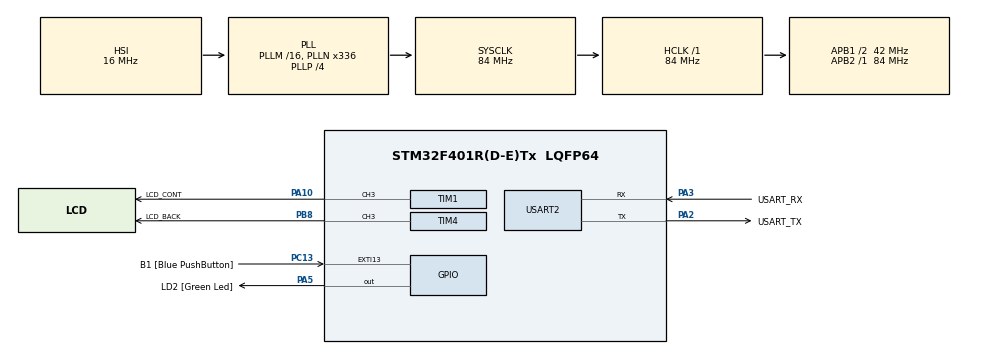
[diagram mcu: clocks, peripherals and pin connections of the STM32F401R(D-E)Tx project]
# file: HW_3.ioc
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Mcu.Family=STM32F4
Mcu.Name=STM32F401R(D-E)Tx
Mcu.Package=LQFP64
NVIC.EXTI15_10_IRQn=true\:0\:0\:false\:false\:true\:true
NVIC.PriorityGroup=NVIC_PRIORITYGROUP_0
NVIC.USART2_IRQn=true\:0\:0\:false\:false\:true\:true
PA10.GPIO_Label=LCD_CONT
PA10.Signal=S_TIM1_CH3
PA13.GPIO_Label=TMS
PA13.Mode=Serial_Wire
PA13.Signal=SYS_JTMS-SWDIO
PA14.GPIO_Label=TCK
PA14.Mode=Serial_Wire
PA14.Signal=SYS_JTCK-SWCLK
PA2.GPIO_Label=USART_TX
PA2.GPIO_Mode=GPIO_MODE_AF_PP
PA2.GPIO_PuPd=GPIO_NOPULL
PA2.GPIO_Speed=GPIO_SPEED_FREQ_LOW
PA2.Mode=Asynchronous
PA2.Signal=USART2_TX
PA3.GPIO_Label=USART_RX
PA3.GPIO_Mode=GPIO_MODE_AF_PP
PA3.GPIO_PuPd=GPIO_NOPULL
PA3.GPIO_Speed=GPIO_SPEED_FREQ_LOW
PA3.Mode=Asynchronous
PA3.Signal=USART2_RX
PA5.GPIO_Label=LD2 [Green Led]
PA5.GPIO_Mode=GPIO_MODE_OUTPUT_PP
PA5.GPIO_PuPd=GPIO_NOPULL
PA5.GPIO_Speed=GPIO_SPEED_FREQ_LOW
PA5.Signal=GPIO_Output
PB3.GPIO_Label=SWO
PB3.Signal=SYS_JTDO-SWO
PB8.GPIO_Label=LCD_BACK
PB8.Signal=S_TIM4_CH3
PC13-ANTI_TAMP.GPIO_Label=B1 [Blue PushButton]
PC13-ANTI_TAMP.GPIO_ModeDefaultEXTI=GPIO_MODE_IT_FALLING
PC13-ANTI_TAMP.GPIO_PuPd=GPIO_PULLUP
PC13-ANTI_TAMP.Signal=GPXTI13
PC14-OSC32_IN.Mode=LSE-External-Oscillator
PC14-OSC32_IN.Signal=RCC_OSC32_IN
PC15-OSC32_OUT.Mode=LSE-External-Oscillator
PC15-OSC32_OUT.Signal=RCC_OSC32_OUT
PH0\ -\ OSC_IN.Mode=HSE-External-Clock-Source
PH0\ -\ OSC_IN.Signal=RCC_OSC_IN
PH1\ -\ OSC_OUT.Mode=HSE-External-Clock-Source
PH1\ -\ OSC_OUT.Signal=RCC_OSC_OUT
ProjectManager.HeapSize=0x200
ProjectManager.StackSize=0x400
ProjectManager.TargetToolchain=MDK-ARM V5
RCC.48MHZClocksFreq_Value=48000000
RCC.AHBFreq_Value=84000000
RCC.APB1CLKDivider=RCC_HCLK_DIV2
RCC.APB1Freq_Value=42000000
RCC.APB1TimFreq_Value=84000000
RCC.APB2Freq_Value=84000000
RCC.APB2TimFreq_Value=84000000
RCC.CortexFreq_Value=84000000
RCC.HCLKFreq_Value=84000000
RCC.HSE_VALUE=8000000
RCC.HSI_VALUE=16000000
RCC.PLLN=336
RCC.PLLP=RCC_PLLP_DIV4
RCC.PLLQ=7
RCC.SYSCLKFreq_VALUE=84000000
RCC.SYSCLKSource=RCC_SYSCLKSOURCE_PLLCLK
RCC.VCOOutputFreq_Value=336000000
SH.S_TIM1_CH3.0=TIM1_CH3,PWM Generation3 CH3
SH.S_TIM4_CH3.0=TIM4_CH3,PWM Generation3 CH3
TIM1.Channel-PWM\ Generation3\ CH3=TIM_CHANNEL_3
TIM1.Period=100
TIM4.Channel-PWM\ Generation3\ CH3=TIM_CHANNEL_3
TIM4.Period=100
USART2.VirtualMode=VM_ASYNC
USART2.WordLength=WORDLENGTH_8B
VP_TIM1_VS_ClockSourceINT.Mode=Internal
VP_TIM4_VS_ClockSourceINT.Mode=Internal
board=NUCLEO-F401RE

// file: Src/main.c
/**
  ******************************************************************************
  * @file           : main.c
  * @brief          : Main program body
  ******************************************************************************
  ** This notice applies to any and all portions of this file
  * that are not between comment pairs USER CODE BEGIN and
  * USER CODE END. Other portions of this file, whether
  * inserted by the user or by software development tools
  * are owned by their respective copyright owners.
  *
  * COPYRIGHT(c) 2019 STMicroelectronics
  *
  * Redistribution and use in source and binary forms, with or without modification,
  * are permitted provided that the following conditions are met:
  *   1. Redistributions of source code must retain the above copyright notice,
  *      this list of conditions and the following disclaimer.
  *   2. Redistributions in binary form must reproduce the above copyright notice,
  *      this list of conditions and the following disclaimer in the documentation
  *      and/or other materials provided with the distribution.
  *   3. Neither the name of STMicroelectronics nor the names of its contributors
  *      may be used to endorse or promote products derived from this software
  *      without specific prior written permission.
  *
  * THIS SOFTWARE IS PROVIDED BY THE COPYRIGHT HOLDERS AND CONTRIBUTORS "AS IS"
  * AND ANY EXPRESS OR IMPLIED WARRANTIES, INCLUDING, BUT NOT LIMITED TO, THE
  * IMPLIED WARRANTIES OF MERCHANTABILITY AND FITNESS FOR A PARTICULAR PURPOSE ARE
  * DISCLAIMED. IN NO EVENT SHALL THE COPYRIGHT HOLDER OR CONTRIBUTORS BE LIABLE
  * FOR ANY DIRECT, INDIRECT, INCIDENTAL, SPECIAL, EXEMPLARY, OR CONSEQUENTIAL
  * DAMAGES (INCLUDING, BUT NOT LIMITED TO, PROCUREMENT OF SUBSTITUTE GOODS OR
  * SERVICES; LOSS OF USE, DATA, OR PROFITS; OR BUSINESS INTERRUPTION) HOWEVER
  * CAUSED AND ON ANY THEORY OF LIABILITY, WHETHER IN CONTRACT, STRICT LIABILITY,
  * OR TORT (INCLUDING NEGLIGENCE OR OTHERWISE) ARISING IN ANY WAY OUT OF THE USE
  * OF THIS SOFTWARE, EVEN IF ADVISED OF THE POSSIBILITY OF SUCH DAMAGE.
  *
  ******************************************************************************
  */
#include "main.h"
#include "stm32f4xx_hal.h"
#include "tim.h"
#include "usart.h"
#include "gpio.h"

/* USER CODE BEGIN Includes */
#include "lm016.h"
/* USER CODE END Includes */

/* USER CODE BEGIN PV */
/* Private variables ---------------------------------------------------------*/

extern 		UART_HandleTypeDef huart2;
uint32_t 	speeds[] 		= {9600, 115200, 1000000};
uint8_t		msg[50];

typedef struct{
	GPIO_TypeDef* port;
	uint16_t 		 	pin;
}LED_t;

					uint8_t 	receive_pckt[8];
volatile	uint8_t		pckt_rcvd_flg;
					LED_t 		LEDs[4];

typedef enum{
	LED_set = 1,
	LCD = 2,
	ERR = 3
} Packet_Type;

Packet_Type pckt_t = ERR;

lcd_t lcd_0;

/* USER CODE END PV */

void SystemClock_Config(void);

/* USER CODE BEGIN PFP */
/* Private function prototypes -----------------------------------------------*/

/* USER CODE END PFP */

int main(void)
{

  /* MCU Configuration----------------------------------------------------------*/

  /* Reset of all peripherals, Initializes the Flash interface and the Systick. */
  HAL_Init();

  /* Configure the system clock */
  SystemClock_Config();

  /* Initialize all configured peripherals */
  MX_GPIO_Init();
  MX_USART2_UART_Init();
  MX_TIM1_Init();
  MX_TIM4_Init();

  /* Infinite loop */
  /* USER CODE BEGIN WHILE */

		/////////////// Q1 //////////////
/*
	for(uint8_t tmp_itrtr_1= 0; tmp_itrtr_1 < 3; tmp_itrtr_1++)
		{
			sprintf((char*)msg, "Speed is changing to %7d in 3 seconds\n\r", speeds[tmp_itrtr_1]);
			HAL_UART_Transmit(&huart2, msg, 43, 200);
			HAL_Delay(3000);

			huart2.Init.BaudRate = speeds[tmp_itrtr_1];
			HAL_UART_Init(&huart2);
			for(uint16_t tmp_itrtr_2= 0; tmp_itrtr_2 < 2000; tmp_itrtr_2++)
			{
				sprintf((char*)msg, "Hello UART %4d\n\r", tmp_itrtr_2+1);
				HAL_UART_Transmit(&huart2, msg, 18, 200);
			}
		}

*/

				///////////// Q2 ////////////
		LEDs[0].port = GPIOA;
		LEDs[0].pin  = GPIO_PIN_0;
		LEDs[1].port = GPIOA;
		LEDs[1].pin	 = GPIO_PIN_1;
		LEDs[2].port = GPIOA;
		LEDs[2].pin	 = GPIO_PIN_4;
		LEDs[3].port = GPIOB;
		LEDs[3].pin	 = GPIO_PIN_0;

		HAL_UART_Receive_IT(&huart2, receive_pckt, 8);

		/////////// Q4 ////////////
		HAL_TIM_PWM_Start(&htim1, TIM_CHANNEL_3);	// LCD CONTRAST
		HAL_TIM_PWM_Start(&htim4, TIM_CHANNEL_3); // LCD BACKLIGHT

	__HAL_TIM_SetCompare(&htim1, TIM_CHANNEL_3, 10); // 0 => High Cont.  100 => Low Cont.
	__HAL_TIM_SetCompare(&htim4, TIM_CHANNEL_3, 60);

	/* <= LCD Initialization BEGIN => */

	// Data Ports
	lcd_0.data_ports[0] = GPIOB;
	lcd_0.data_ports[1] = GPIOA;
	lcd_0.data_ports[2] = GPIOA;
	lcd_0.data_ports[3] = GPIOC;
	lcd_0.data_ports[4] = GPIOB;
	lcd_0.data_ports[5] = GPIOA;
	lcd_0.data_ports[6] = GPIOA;
	lcd_0.data_ports[7] = GPIOA;
	// Data Pins
	lcd_0.data_pins[0]  = GPIO_PIN_10;
	lcd_0.data_pins[1]  = GPIO_PIN_8;
	lcd_0.data_pins[2]  = GPIO_PIN_9;
	lcd_0.data_pins[3]  = GPIO_PIN_7;
	lcd_0.data_pins[4]  = GPIO_PIN_6;
	lcd_0.data_pins[5]  = GPIO_PIN_7;
	lcd_0.data_pins[6]  = GPIO_PIN_6;
	lcd_0.data_pins[7]  = GPIO_PIN_5;

	// Control Ports
	lcd_0.rs_port				= GPIOB;
	lcd_0.en_port 			= GPIOB;

	// Control Pins
	lcd_0.rs_pin				= GPIO_PIN_3;
	lcd_0.en_pin 				= GPIO_PIN_4;

	// Mode
	lcd_0.mode					= _8_BIT;

	HAL_Delay(100);
	lcd_init(&lcd_0);
	/* <= LCD Initialization END => */

	lcd_puts(&lcd_0, "Hello! Welcome to the HW3!");
	HAL_Delay(1000);
	lcd_clear(&lcd_0);

  while (1)
  {

		if(pckt_rcvd_flg == 1)
		{
			/*
			lcd_puts(&lcd_0, "Checking the Packet Type");
			HAL_Delay(2000);
			lcd_clear(&lcd_0);
			*/

			// check the packet
			if(receive_pckt[0] == 255 && receive_pckt[1] == 255 && receive_pckt[6] == 200 && receive_pckt[7] == 200)
			{
				if(receive_pckt[2] == 0 || receive_pckt[2] == 1)
				{
					pckt_t = LED_set;
					/*
					lcd_puts(&lcd_0, "Packet Type ==> LED");
					HAL_Delay(2000);
					lcd_clear(&lcd_0);
					*/
				}
				else
				{
					pckt_t = LCD;
					/*
					lcd_puts(&lcd_0, "Packet Type ==> LCD");
					HAL_Delay(2000);
					lcd_clear(&lcd_0);
					*/
				}
			}
			else
			{
				pckt_t = ERR;
				/*
				lcd_puts(&lcd_0, "ERROR");
				HAL_Delay(2000);
				lcd_clear(&lcd_0);
				*/

			}

			// Perform the command!
			switch (pckt_t)
      {
      	case LED_set:
      		for(uint8_t tmp_itrtr_3= 0; tmp_itrtr_3 < 4; tmp_itrtr_3++)
					{
						HAL_GPIO_WritePin(LEDs[tmp_itrtr_3].port, LEDs[tmp_itrtr_3].pin, receive_pckt[tmp_itrtr_3 + 2]);
					}
					break;

      	case LCD:
      		switch (receive_pckt[2])
          {
          	case 2:
							lcd_clear( &lcd_0 );
							break;
          	case 3:
          		lcd_set_curser(&lcd_0, receive_pckt[3], receive_pckt[4]);
							break;
						case 4:
							lcd_putchar( &lcd_0, receive_pckt[3] );
							break;
						case 5:
          		send_cmd(&lcd_0, receive_pckt[3]);
							break;
          	default:
          		HAL_UART_Transmit_IT(&huart2, (uint8_t*)"LCD command not valid!\n\r", 24);
          }
					break;

				default:
      		HAL_UART_Transmit_IT(&huart2, (uint8_t*)"Error in receiving the packet\n\r", 31);
      }

			pckt_rcvd_flg = 0;
			HAL_UART_Receive_IT(&huart2, receive_pckt, 8);

		}

  /* USER CODE END WHILE */

  }

}

void SystemClock_Config(void)
{

  RCC_OscInitTypeDef RCC_OscInitStruct;
  RCC_ClkInitTypeDef RCC_ClkInitStruct;

    /**Configure the main internal regulator output voltage
    */
  __HAL_RCC_PWR_CLK_ENABLE();

  __HAL_PWR_VOLTAGESCALING_CONFIG(PWR_REGULATOR_VOLTAGE_SCALE2);

    /**Initializes the CPU, AHB and APB busses clocks
    */
  RCC_OscInitStruct.OscillatorType = RCC_OSCILLATORTYPE_HSI;
  RCC_OscInitStruct.HSIState = RCC_HSI_ON;
  RCC_OscInitStruct.HSICalibrationValue = 16;
  RCC_OscInitStruct.PLL.PLLState = RCC_PLL_ON;
  RCC_OscInitStruct.PLL.PLLSource = RCC_PLLSOURCE_HSI;
  RCC_OscInitStruct.PLL.PLLM = 16;
  RCC_OscInitStruct.PLL.PLLN = 336;
  RCC_OscInitStruct.PLL.PLLP = RCC_PLLP_DIV4;
  RCC_OscInitStruct.PLL.PLLQ = 7;
  if (HAL_RCC_OscConfig(&RCC_OscInitStruct) != HAL_OK)
  {
    _Error_Handler(__FILE__, __LINE__);
  }

    /**Initializes the CPU, AHB and APB busses clocks
    */
  RCC_ClkInitStruct.ClockType = RCC_CLOCKTYPE_HCLK|RCC_CLOCKTYPE_SYSCLK
                              |RCC_CLOCKTYPE_PCLK1|RCC_CLOCKTYPE_PCLK2;
  RCC_ClkInitStruct.SYSCLKSource = RCC_SYSCLKSOURCE_PLLCLK;
  RCC_ClkInitStruct.AHBCLKDivider = RCC_SYSCLK_DIV1;
  RCC_ClkInitStruct.APB1CLKDivider = RCC_HCLK_DIV2;
  RCC_ClkInitStruct.APB2CLKDivider = RCC_HCLK_DIV1;

  if (HAL_RCC_ClockConfig(&RCC_ClkInitStruct, FLASH_LATENCY_2) != HAL_OK)
  {
    _Error_Handler(__FILE__, __LINE__);
  }

    /**Configure the Systick interrupt time
    */
  HAL_SYSTICK_Config(HAL_RCC_GetHCLKFreq()/1000);

    /**Configure the Systick
    */
  HAL_SYSTICK_CLKSourceConfig(SYSTICK_CLKSOURCE_HCLK);

  /* SysTick_IRQn interrupt configuration */
  HAL_NVIC_SetPriority(SysTick_IRQn, 0, 0);
}

void _Error_Handler(char *file, int line)
{
  while(1)
  {
  }
}

/************************ (C) COPYRIGHT STMicroelectronics *****END OF FILE****/
